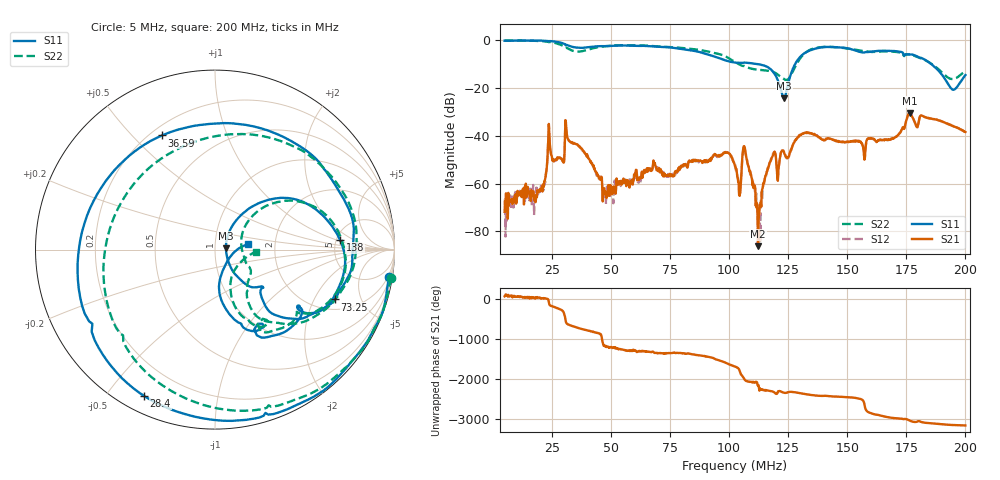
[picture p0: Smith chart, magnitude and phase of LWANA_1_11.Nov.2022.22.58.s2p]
!Keysight Technologies N9917A: A.12.46
!Date: Friday, 11 November 2022 22:59:48
!Timezone: (UTC) Coordinated Universal Time
!Model: N9917A
!Serial: MY56071016
!GPS Latitude:
!GPS Longitude:
!GPS TimeStamp: 0001-01-01 00:00:00Z
!GPS Seconds Since Last Read: 0
!CHECKSUM:1625686136
!Correction: S11(ON U)S21(ON U)S12(ON U)S22(ON U)
!S2P File: Measurements:S11,S21,S12,S22:
# Hz S DB R 50
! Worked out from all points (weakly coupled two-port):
!   1001 points, 5 MHz to 200 MHz, reference 50 ohm
!   highest |S21| = -30.51 dB at 176.4 MHz (marker M1); lowest = -86.2 dB at 112.2 MHz (marker M2)
!   lowest |S11| = -24.3 dB at 123.4 MHz (marker M3), VSWR 1.13, Z = 56.4 + j0.917 ohm
!   |S11| at or under -10 dB: 112.6 MHz to 127.9 MHz (15.31 MHz wide, 12.7 % of centre); 185.7 MHz to end of sweep
!   |S22| runs from -16.6 to 0.0 dB; largest |S21 - S12| = 0.00062
!   S11 on the Smith chart (normalised r, x): 5 MHz: 1, -13; 28.4 MHz: 0.07, -0.62; 36.59 MHz: 0.24, +0.61; 73.25 MHz: 2.54, -2.96; 138 MHz: 5.40, +1.12; 200 MHz: 1.45, +0.09
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5000000  -0.14 -9.0  -71.82 62.9  -68.91 83.3  -0.05 -9.2
1.9625e7  -0.08 -50.8  -62.91 33.2  -64.16 22.5  -0.23 -50.2
2.3915e7  -0.31 -73.7  -38.92 -137.4  -39.07 -137.3  -0.66 -71.8
2.84e7  -0.86 -115.9  -49.05 100.0  -49.01 102.2  -1.74 -109.1
3.23e7  -2.28 -174.2  -42.08 70.2  -42.12 69.9  -3.67 -159.2
3.659e7  -3.08 115.0  -44.25 -14.5  -44.46 -14.4  -4.68 131.8
3.7565e7  -3.11 101.9  -45.33 -32.5  -45.38 -31.1  -4.57 117.9
4.751e7  -2.41 31.7  -64.35 -111.9  -63.47 -103.5  -2.45 38.5
7.013e7  -2.70 -17.7  -53.91 80.5  -53.90 78.0  -2.49 -15.5
7.325e7  -2.82 -22.6  -56.65 85.4  -56.26 88.2  -2.68 -20.1
1.025e8  -9.30 -42.4  -52.64 107.8  -52.15 109.3  -9.06 -57.8
1.04255e8  -9.40 -40.6  -64.80 33.6  -64.46 19.0  -10.04 -55.6
1.0679e8  -9.31 -38.3  -46.16 128.1  -45.79 126.5  -10.88 -50.7
1.1225e8  -9.95 -40.9  -86.18 -10.9  -86.15 -63.8  -12.29 -36.3
1.181e8  -12.58 -49.2  -49.13 -151.2  -48.88 -151.2  -13.08 -28.2
1.23365e8  -24.27 7.6  -47.36 170.5  -47.24 169.9  -16.29 -4.1
1.35065e8  -3.88 16.0  -38.95 113.6  -39.06 113.9  -3.61 15.3
1.3799e8  -3.11 4.4  -40.52 95.3  -40.61 96.2  -2.94 2.8
1.6763e8  -4.35 -45.8  -41.47 -82.4  -41.34 -82.2  -4.59 -44.1
1.76405e8  -5.86 -60.6  -30.51 -163.2  -30.55 -163.1  -5.91 -57.4
1.9454e8  -20.59 -40.8  -35.79 86.6  -35.78 85.7  -16.23 -37.0
2e8  -14.52 9.2  -38.37 74.3  -38.43 74.4  -12.74 -2.7
